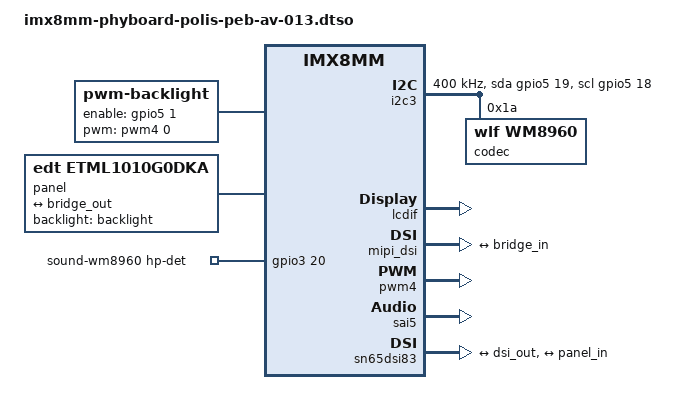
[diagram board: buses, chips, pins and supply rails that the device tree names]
// SPDX-License-Identifier: GPL-2.0
/*
 * Copyright (C) 2022 PHYTEC Messtechnik GmbH
 * Author: Dominik Haller <d.haller@phytec.de>
 * Supports PEB-AV-013 connected to a TI sn65dsi83 bridge
 */

/dts-v1/;
/plugin/;

#include <dt-bindings/clock/imx8mm-clock.h>
#include <dt-bindings/gpio/gpio.h>
#include "../imx8mm-pinfunc.h"

/ {
	compatible = "phytec,imx8mm-phyboard-polis";
};

&{/} {
	backlight: backlight {
		compatible = "pwm-backlight";
		pinctrl-names = "default";
		pinctrl-0 = <&pinctrl_lcd>;
		default-brightness-level = <6>;
		pwms = <&pwm4 0 50000 0>;
		enable-gpios = <&gpio5 1 GPIO_ACTIVE_HIGH>;
		brightness-levels= <0 4 8 16 32 64 128 255>;
	};

	panel {
		compatible = "edt,etml1010g0dka";
		backlight = <&backlight>;

		port {
			panel_in: endpoint {
				remote-endpoint = <&bridge_out>;
			};
		};
	};

	sound-wm8960 {
		compatible = "fsl,imx-audio-wm8960";
		model = "PEB-AV-13";
		audio-cpu = <&sai5>;
		audio-codec = <&codec>;
		hp-det-gpio = <&gpio3 20 0>;
		audio-routing =
			"Headphone Jack", "HP_L",
			"Headphone Jack", "HP_R",
			"Ext Spk", "SPK_LP",
			"Ext Spk", "SPK_LN",
			"Ext Spk", "SPK_RP",
			"Ext Spk", "SPK_RN",
			"LINPUT1", "Line In Jack",
			"RINPUT1", "Line In Jack",
			"LINPUT2", "AMIC",
			"RINPUT2", "AMIC",
			"LINPUT3", "Mic Jack",
			"Mic Jack", "MICB";
	};
};

&i2c3 {
	clock-frequency = <400000>;
	pinctrl-names = "default", "gpio";
	pinctrl-0 = <&pinctrl_i2c3>;
	pinctrl-1 = <&pinctrl_i2c3_gpio>;
	sda-gpios = <&gpio5 19 (GPIO_ACTIVE_HIGH | GPIO_OPEN_DRAIN)>;
	scl-gpios = <&gpio5 18 (GPIO_ACTIVE_HIGH | GPIO_OPEN_DRAIN)>;
	status = "okay";

	#address-cells = <1>;
	#size-cells = <0>;

	codec: wm8960@1a {
		compatible = "wlf,wm8960";
		reg = <0x1a>;
		clocks = <&clk IMX8MM_CLK_SAI5>;
		clock-names = "mclk";
		wlf,shared-lrclk;
		wlf,hp-cfg = <3 2 3>;
		wlf,gpio-cfg = <1 3>;
	};
};

&lcdif {
	status = "okay";
};

&mipi_dsi {
	status = "okay";

	#address-cells = <1>;
	#size-cells = <0>;

	port@1 {
		reg = <1>;

		dsi_out: endpoint {
			attach-bridge;
			remote-endpoint = <&bridge_in>;
		};
	};
};

&pwm4 {
	pinctrl-names = "default";
	pinctrl-0 = <&pinctrl_pwm4>;
	status = "okay";
};

&sai5 {
	assigned-clocks = <&clk IMX8MM_CLK_SAI5>;
	assigned-clock-parents = <&clk IMX8MM_AUDIO_PLL2_OUT>;
	assigned-clock-rates = <11289600>;
	clocks = <&clk IMX8MM_CLK_SAI5_IPG>, <&clk IMX8MM_CLK_DUMMY>,
		<&clk IMX8MM_CLK_SAI5_ROOT>, <&clk IMX8MM_CLK_DUMMY>,
		<&clk IMX8MM_CLK_DUMMY>, <&clk IMX8MM_AUDIO_PLL1_OUT>,
		<&clk IMX8MM_AUDIO_PLL2_OUT>;
	clock-names = "bus", "mclk0", "mclk1", "mclk2", "mclk3", "pll8k",
			"pll11k";
	fsl,sai-mclk-direction-output;
	pinctrl-names = "default";
	pinctrl-0 = <&pinctrl_sai5>;
	#sound-dai-cells = <0>;
	status = "okay";
};

&sn65dsi83 {
	status = "okay";

	ports {
		#address-cells = <1>;
		#size-cells = <0>;

		port@0 {
			reg = <0>;

			bridge_in: endpoint {
				remote-endpoint = <&dsi_out>;
				data-lanes = <1 2 3 4>;
				lvds_vod_swing = <0x0C>;
			};
		};

		port@2 {
			reg = <2>;

			bridge_out: endpoint {
				remote-endpoint = <&panel_in>;
			};
		};
	};
};

&iomuxc {

	pinctrl_i2c3: i2c3grp {
		fsl,pins = <
			MX8MM_IOMUXC_I2C3_SCL_I2C3_SCL          0x400001c2
			MX8MM_IOMUXC_I2C3_SDA_I2C3_SDA          0x400001c2
		>;
	};

	pinctrl_i2c3_gpio: i2c3gpiogrp {
		fsl,pins = <
			MX8MM_IOMUXC_I2C3_SCL_GPIO5_IO18        0x1e2
			MX8MM_IOMUXC_I2C3_SDA_GPIO5_IO19        0x1e2
		>;
	};

	pinctrl_lcd: lcd0grp {
		fsl,pins = <
			MX8MM_IOMUXC_SAI3_TXD_GPIO5_IO1		0x12
		>;
	};

	pinctrl_pwm4: pwm4grp {
		fsl,pins = <
			MX8MM_IOMUXC_SAI3_MCLK_PWM4_OUT		0x12
		>;
	};

	pinctrl_sai5: sai5grp {
		fsl,pins = <
			MX8MM_IOMUXC_SAI5_MCLK_SAI5_MCLK        0xd4
			MX8MM_IOMUXC_SAI5_RXD0_SAI5_RX_DATA0    0xd4
			MX8MM_IOMUXC_SAI5_RXD1_SAI5_TX_SYNC     0xd4
			MX8MM_IOMUXC_SAI5_RXD2_SAI5_TX_BCLK     0xd4
			MX8MM_IOMUXC_SAI5_RXD3_SAI5_TX_DATA0    0xd4
			MX8MM_IOMUXC_SAI5_RXC_GPIO3_IO20        0x16
		>;
	};
};
